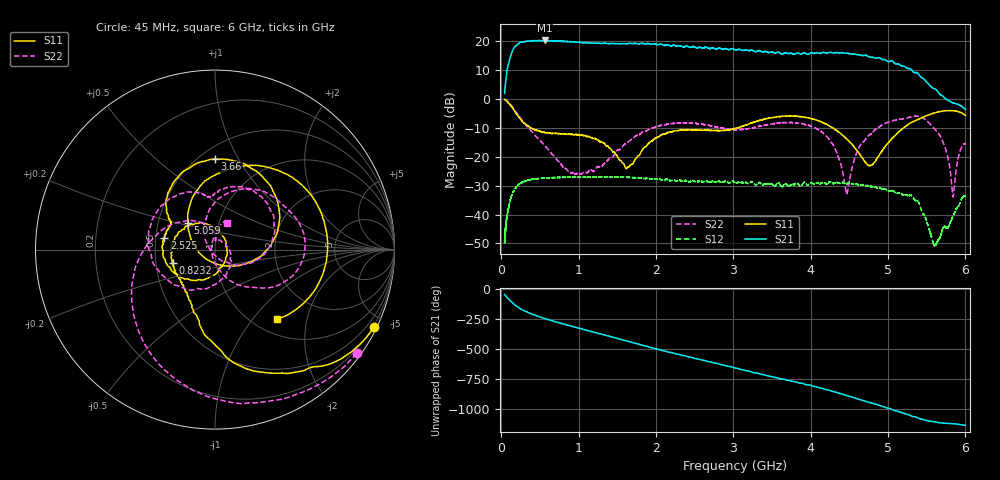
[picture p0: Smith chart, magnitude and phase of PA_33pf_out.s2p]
!Agilent Technologies,E8364A,US41440144,A.06.04.32
!Agilent E8364A: A.06.04.32
!Date: Thursday, November 08, 2018 15:06:15
!Correction: S11(Full 2 Port(1,2)) S21(Full 2 Port(1,2)) S12(Full 2 Port(1,2)) S22(Full 2 Port(1,2))
!S2P File: Measurements: S11, S21, S12, S22:
# Hz S  dB  R 50
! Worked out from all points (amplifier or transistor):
!   16001 points, 45 MHz to 6 GHz, reference 50 ohm
!   highest |S21| = 20.2 dB at 564.9 MHz (marker M1)
!   |S21| within 3 dB of that: 157.2 MHz to 2.774 GHz (2.617 GHz wide, 179 % of centre)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
!   unconditionally stable (mu >= 1): start of sweep to end of sweep
!   at 1.037 GHz: K = 1.32, MAG = 19.9 dB, |S12| = -27.0 dB
!   at 3.022 GHz: K = 1.81, MAG = 17.7 dB, |S12| = -28.8 dB
!   at 6 GHz: K = 25.59, MAG = -2.2 dB, |S12| = -33.5 dB
!   S11 on the Smith chart (normalised r, x): 45 MHz: 0.14, -4.34; 823.2 MHz: 0.61, -0.10; 2.525 GHz: 0.56, +0.08; 3.66 GHz: 0.59, +0.80; 5.059 GHz: 0.71, +0.22; 6 GHz: 1.26, -1.34
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4.5e7  -0.12 -25.9  1.95 -49.0  -48.82 156.3  -0.19 -36.2
1.570284e8  -3.45 -76.9  17.22 -123.1  -32.12 70.7  -3.12 -118.4
2.779894e8  -7.87 -103.0  19.71 -176.9  -28.78 21.0  -7.64 -175.6
5.649459e8  -11.67 -135.3  20.24 112.6  -27.38 -44.4  -16.23 111.8
8.232441e8  -12.17 -162.3  19.91 63.6  -27.12 -87.6  -23.95 87.8
1.037624e9  -12.54 170.6  19.49 26.5  -27.02 -119.8  -25.92 82.6
1.29555e9  -14.73 128.5  19.20 -16.9  -26.96 -157.8  -23.48 16.6
1.58995e9  -22.73 31.9  19.15 -68.0  -27.09 159.3  -15.79 -71.1
1.808424e9  -18.29 -80.9  19.26 -104.9  -27.30 127.7  -11.85 -118.5
2.030248e9  -13.13 -131.5  18.80 -142.8  -27.71 97.3  -9.45 -160.1
2.244256e9  -11.01 -163.5  18.51 -177.7  -28.19 68.8  -8.39 166.2
2.524513e9  -10.76 167.0  17.72 139.5  -28.71 33.2  -8.48 129.7
3.0225e9  -10.20 146.1  17.02 62.4  -28.84 -34.9  -10.63 95.4
3.342209e9  -7.44 125.5  16.71 14.1  -28.95 -77.1  -9.44 83.4
3.659685e9  -5.93 90.0  15.89 -30.4  -29.53 -114.1  -8.20 55.9
4.015124e9  -6.86 43.5  15.99 -84.4  -29.07 -165.5  -9.58 12.3
4.49934e9  -14.70 -25.7  15.69 -171.9  -29.12 117.3  -28.40 159.8
4.739029e9  -22.86 -103.0  14.77 140.9  -30.00 76.0  -12.90 97.7
5.007748e9  -15.07 145.3  12.90 89.4  -31.86 27.1  -7.99 57.4
5.05911e9  -13.48 135.4  13.04 76.8  -31.71 18.2  -7.52 50.7
5.480798e9  -5.99 69.0  6.41 -9.4  -40.91 -83.1  -7.11 -22.1
6e9  -5.67 -48.3  -3.66 -52.4  -33.48 -108.5  -15.60 65.2
